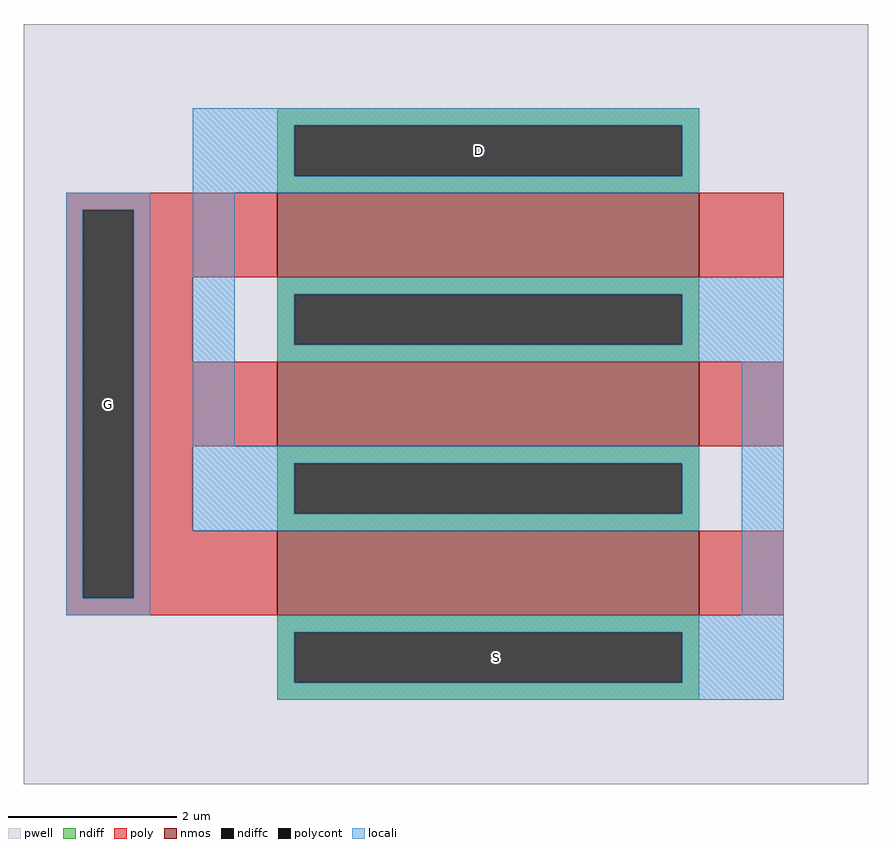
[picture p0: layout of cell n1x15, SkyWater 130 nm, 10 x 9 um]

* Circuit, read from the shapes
.subckt n1x15 D G S
XM1 D G S VSUBS sky130_fd_pr__nfet_01v8 w=5 l=1 m=3
.ends

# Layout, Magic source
magic
tech sky130A
<< pwell >>
rect -500 -600 500 300
<< nmos >>
rect -200 0 300 100
rect -200 -200 300 -100
rect -200 -400 300 -300
<< ndiff >>
rect -200 180 300 200
rect -200 120 -180 180
rect 280 120 300 180
rect -200 100 300 120
rect -200 -20 300 0
rect -200 -80 -180 -20
rect 280 -80 300 -20
rect -200 -100 300 -80
rect -200 -220 300 -200
rect -200 -280 -180 -220
rect 280 -280 300 -220
rect -200 -300 300 -280
rect -200 -420 300 -400
rect -200 -480 -180 -420
rect 280 -480 300 -420
rect -200 -500 300 -480
<< ndiffc >>
rect -180 120 280 180
rect -180 -80 280 -20
rect -180 -280 280 -220
rect -180 -480 280 -420
<< poly >>
rect -450 80 -200 100
rect -450 -380 -430 80
rect -370 0 -200 80
rect 300 0 400 100
rect -370 -100 -300 0
rect -370 -200 -200 -100
rect 300 -200 400 -100
rect -370 -300 -300 -200
rect -370 -380 -200 -300
rect -450 -400 -200 -380
rect 300 -400 400 -300
<< polycont >>
rect -430 -380 -370 80
<< locali >>
rect -300 180 300 200
rect -300 120 -180 180
rect 280 120 300 180
rect -300 100 300 120
rect -450 80 -350 100
rect -450 -380 -430 80
rect -370 -380 -350 80
rect -300 -200 -250 100
rect -200 -20 400 0
rect -200 -80 -180 -20
rect 280 -80 400 -20
rect -200 -100 400 -80
rect -300 -220 300 -200
rect -300 -280 -180 -220
rect 280 -280 300 -220
rect -300 -300 300 -280
rect -450 -400 -350 -380
rect 350 -400 400 -100
rect -200 -420 400 -400
rect -200 -480 -180 -420
rect 280 -480 400 -420
rect -200 -500 400 -480
<< labels >>
flabel ndiffc 40 150 40 150 0 FreeSans 800 0 0 0 D
port 0 nsew
flabel polycont -400 -150 -400 -150 0 FreeSans 800 0 0 0 G
port 1 nsew
flabel ndiffc 60 -450 60 -450 0 FreeSans 800 0 0 0 S
port 2 nsew
<< end >>
